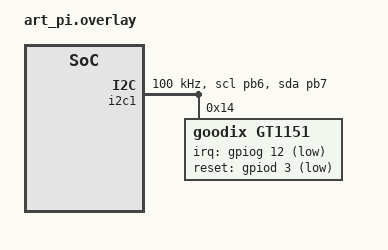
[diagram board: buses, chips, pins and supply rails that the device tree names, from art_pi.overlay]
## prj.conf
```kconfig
CONFIG_I2C=y
CONFIG_GPIO=y

# 使用新的 Input 子系统
CONFIG_INPUT=y
# CONFIG_INPUT_GT911=y
# CONFIG_INPUT_GT911_INTERRUPT=y    # 用中断方式（INT 引脚）

CONFIG_INPUT_GT1151=y
CONFIG_INPUT_GT1151_INTERRUPT=y    # 用中断方式（INT 引脚）
CONFIG_INPUT_GT1151_MAX_TOUCH_POINTS=5  


# 输入事件队列容量（默认很小~16），先给大一点
CONFIG_INPUT_QUEUE_MAX_MSGS=512

# 系统工作队列栈更大，避免打印/处理时栈紧张
CONFIG_SYSTEM_WORKQUEUE_STACK_SIZE=4096

# 调试可选
# 打开日志
CONFIG_LOG=y
CONFIG_LOG_MODE_IMMEDIATE=y
# 全局默认级别可设成 INF（可选）
CONFIG_LOG_DEFAULT_LEVEL=3
# 把 input 系列的日志级别设成 INF（不要再用 DBG）
CONFIG_INPUT_LOG_LEVEL_INF=y
```

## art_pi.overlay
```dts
/*
 * Copyright (c) 2025 STMicroelectronics
 *
 * SPDX-License-Identifier: Apache-2.0
 */

/*
 * Define the device, controller and partition to be the external memory
 * for running the application in external NOR from MCUboot
 */
/ {
	chosen {
		zephyr,flash = &w25q64_qspi;
		zephyr,flash-controller = &w25q64_qspi;
		zephyr,code-partition = &slot0_partition;
	};



     aliases { touch = &gt1151; };   // 可选，给网络接口起别名
};


&i2c1 {
    status = "okay";
    clock-frequency = <100000>;            
    pinctrl-names = "default";
    pinctrl-0 = <&i2c1_scl_pb6 &i2c1_sda_pb7>;


    // gt911: touchscreen@5d {
    //     compatible = "goodix,gt911";
    //     reg = <0x5d>;                 
    //     alt-addr = <0x14>;            
    //     irq-gpios   = <&gpiog 12 GPIO_ACTIVE_HIGH>; 
    //     reset-gpios = <&gpiod 3  GPIO_ACTIVE_LOW>; 
    //     status = "okay";
    // };

	gt1151: touchscreen@14 {
        compatible = "goodix,gt1151";
        reg = <0x14>;
        irq-gpios   = <&gpiog 12 (GPIO_ACTIVE_LOW | GPIO_PULL_UP)>;
        reset-gpios = <&gpiod 3  GPIO_ACTIVE_LOW>;
        status = "okay";
    };

};
```

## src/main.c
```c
#include <zephyr/kernel.h>
#include <zephyr/device.h>
#include <zephyr/devicetree.h>
#include <zephyr/drivers/gpio.h>
#include <zephyr/input/input.h>
#include <zephyr/sys/printk.h>
#include <stdint.h>
#include <stdbool.h>

/* ----------- LED (容错) ----------- */
#define LED0_NODE DT_ALIAS(led0)
#define LED1_NODE DT_ALIAS(led1)
static const struct gpio_dt_spec led0 = GPIO_DT_SPEC_GET_OR(LED0_NODE, gpios, (struct gpio_dt_spec){0});
static const struct gpio_dt_spec led1 = GPIO_DT_SPEC_GET_OR(LED1_NODE, gpios, (struct gpio_dt_spec){0});

static void leds_toggle(void) {
    if (led0.port) gpio_pin_toggle_dt(&led0);
    if (led1.port) gpio_pin_toggle_dt(&led1);
}
static void leds_init(void) {
    if (led0.port && device_is_ready(led0.port)) gpio_pin_configure_dt(&led0, GPIO_OUTPUT_INACTIVE);
    if (led1.port && device_is_ready(led1.port)) gpio_pin_configure_dt(&led1, GPIO_OUTPUT_INACTIVE);
}

/* ----------- 分辨率：chosen display 优先 ----------- */
#if DT_NODE_HAS_STATUS(DT_CHOSEN(zephyr_display), okay) && \
    DT_NODE_HAS_PROP(DT_CHOSEN(zephyr_display), width) && \
    DT_NODE_HAS_PROP(DT_CHOSEN(zephyr_display), height)
#define TOUCH_W DT_PROP(DT_CHOSEN(zephyr_display), width)
#define TOUCH_H DT_PROP(DT_CHOSEN(zephyr_display), height)
#else
#define TOUCH_W 800
#define TOUCH_H 480
#endif

/* ----------- 最大触点 ----------- */
#ifdef CONFIG_INPUT_GT1151_MAX_TOUCH_POINTS
#define MAX_SLOTS CONFIG_INPUT_GT1151_MAX_TOUCH_POINTS
#else
#define MAX_SLOTS 5
#endif

/* ----------- 仅监听 GT1151；无实例时退化为全局监听 ----------- */
#if DT_HAS_COMPAT_STATUS_OKAY(goodix_gt1151)
#define HAVE_GT1151 1
#define GT_DEV DEVICE_DT_GET(DT_INST(0, goodix_gt1151))
#else
#define HAVE_GT1151 0
#endif

/* ----------- 触点状态缓存（回调里只更新，不打印） ----------- */
struct slot_state {
    int16_t x, y;
    bool down;
    bool dirty;   /* 本周期有更新 */
};
static struct slot_state slots[MAX_SLOTS];
static int current_slot = 0;

/* 简单限幅 */
static inline int16_t clamp16(int v, int lo, int hi) {
    if (v < lo) return lo;
    if (v > hi) return hi;
    return (int16_t)v;
}

/* 回调：只更新状态，标记脏位，不打印 */
static void touch_cb(struct input_event *evt, void *user_data)
{
    ARG_UNUSED(user_data);

    switch (evt->type) {
    case INPUT_EV_ABS:
        if (evt->code == INPUT_ABS_MT_SLOT) {
            int s = (int)evt->value;
            if (s < 0) s = 0;
            if (s >= MAX_SLOTS) s = MAX_SLOTS - 1;
            current_slot = s;
        } else if (evt->code == INPUT_ABS_X) {
            slots[current_slot].x = clamp16(evt->value, 0, TOUCH_W - 1);
            slots[current_slot].dirty = true;
        } else if (evt->code == INPUT_ABS_Y) {
            slots[current_slot].y = clamp16(evt->value, 0, TOUCH_H - 1);
            slots[current_slot].dirty = true;
        }
        break;

    case INPUT_EV_KEY:
        if (evt->code == INPUT_BTN_TOUCH) {
            bool d = (evt->value != 0);
            if (slots[current_slot].down != d) {
                slots[current_slot].down = d;
                slots[current_slot].dirty = true;
            }
        }
        break;

    default:
        break;
    }
}

/* 有 GT1151 就只绑定该设备，否则绑定所有设备 */
#if HAVE_GT1151
INPUT_CALLBACK_DEFINE(GT_DEV, touch_cb, NULL);
#else
INPUT_CALLBACK_DEFINE(NULL,   touch_cb, NULL);
#endif

/* 定时器：固定节流频率打印（比如 50ms 一次） */
#define PRINT_PERIOD_MS 50
static struct k_timer print_timer;

static void print_timer_cb(struct k_timer *tmr)
{
    /* 一次性打印所有“脏”触点，然后清脏位 */
    for (int i = 0; i < MAX_SLOTS; i++) {
        if (!slots[i].dirty) continue;
        if (slots[i].down) {
            printk("[slot %d] DOWN/MOVE x=%d y=%d\n", i, slots[i].x, slots[i].y);
        } else {
            printk("[slot %d] UP\n", i);
        }
        slots[i].dirty = false;
    }
    leds_toggle();
}

void main(void)
{
    leds_init();

#if HAVE_GT1151
    const struct device *dev = GT_DEV;
    if (!device_is_ready(dev)) {
        printk("Touch dev not ready: %s\n", dev->name);
    } else {
        printk("Listening GT115x dev: %s, resolution %dx%d\n",
               dev->name ? dev->name : "?", TOUCH_W, TOUCH_H);
    }
#else
    printk("Listening ALL input devices, resolution %dx%d\n", TOUCH_W, TOUCH_H);
#endif

    k_timer_init(&print_timer, print_timer_cb, NULL);
    k_timer_start(&print_timer, K_MSEC(PRINT_PERIOD_MS), K_MSEC(PRINT_PERIOD_MS));

    /* 主线程空转 */
    while (1) {
        k_sleep(K_SECONDS(1));
    }
}


/*  非驱动层的测试  */

// #include <zephyr/kernel.h>
// #include <zephyr/sys/printk.h>
// #include <zephyr/drivers/i2c.h>
// #include <zephyr/drivers/gpio.h>
// #include <zephyr/sys/byteorder.h>
// #include <zephyr/sys/util.h>

// /* ------- Devicetree 节点抓取（兼容 nodelabel/alias） ------- */
// #if DT_NODE_HAS_STATUS(DT_NODELABEL(touch), okay)
// #define TOUCH_NODE DT_NODELABEL(touch)
// #elif DT_NODE_HAS_STATUS(DT_ALIAS(touch), okay)
// #define TOUCH_NODE DT_ALIAS(touch)
// #else
// #error "No touch node found: please add `touch:` label or alias in DTS"
// #endif

// /* I2C 与 GPIO 描述（来自 touch 节点） */
// static const struct i2c_dt_spec  i2c_ts  = I2C_DT_SPEC_GET(TOUCH_NODE);
// static const struct gpio_dt_spec pin_int = GPIO_DT_SPEC_GET(TOUCH_NODE, irq_gpios);
// static const struct gpio_dt_spec pin_rst = GPIO_DT_SPEC_GET(TOUCH_NODE, reset_gpios);

// /* ---- 常用寄存器/参数（GT115x） ---- */
// #define GT_ADDR7             0x14
// #define GT_REG_PID           0x8140  /* 4 bytes */
// #define GT_REG_REQ           0x8044  /* Request */
// #define GT_REG_STATUS        0x814E  /* bit7: ready, bit3..0: points */
// #define GT_REG_POINTS_START  0x8150  /* 每点 8 字节: xL,xH,yL,yH,sizeL,sizeH,id,event */
// #define GT_POINT_SIZE        8
// #define GT_MAX_POINTS        5

// /* ---- I2C 读写（两段消息，失败回退 write_read） ---- */
// static int gt_read(uint8_t addr7, uint16_t reg, void *buf, size_t len)
// {
//     uint8_t ra[2]; sys_put_be16(reg, ra);
//     struct i2c_msg msgs[2] = {
//         { .buf = ra,  .len = 2,   .flags = I2C_MSG_WRITE },
//         { .buf = buf, .len = len, .flags = I2C_MSG_READ | I2C_MSG_RESTART | I2C_MSG_STOP },
//     };
//     int ret = i2c_transfer(i2c_ts.bus, msgs, 2, addr7);
//     if (ret) {
//         /* fallback：部分控制器/设备对 RESTART 更挑剔 */
//         ret = i2c_write_read(i2c_ts.bus, addr7, ra, 2, buf, len);
//     }
//     return ret;
// }

// static int gt_write_u8(uint8_t addr7, uint16_t reg, uint8_t val)
// {
//     uint8_t frame[3];
//     sys_put_be16(reg, frame);
//     frame[2] = val;
//     return i2c_write(i2c_ts.bus, frame, sizeof(frame), addr7);
// }

// /* ---- 复位/上电序列（按 ACTIVE 语义；你的 RST=GPIO_ACTIVE_LOW） ----
//  * 断言复位(=ACTIVE → 对低有效就是拉低) ≥10ms → 释放(=INACTIVE) → 等 ≥60ms
//  * INT：上电阶段先拉为输出低（多数板卡 OK），随后切回输入上拉。
//  */
// static int gt_power_on_sequence(void)
// {
//     int ret;

//     if (!device_is_ready(i2c_ts.bus) ||
//         !gpio_is_ready_dt(&pin_int) ||
//         !gpio_is_ready_dt(&pin_rst)) {
//         return -ENODEV;
//     }

//     /* INT 先设为输出低用于上电阶段（如需绑位），RST 受控 */
//     ret = gpio_pin_configure_dt(&pin_int, GPIO_OUTPUT);
//     if (ret) return ret;
//     ret = gpio_pin_configure_dt(&pin_rst, GPIO_OUTPUT_INACTIVE); /* 先置为“无效”电平 */
//     if (ret) return ret;

//     gpio_pin_set_dt(&pin_int, 0);   /* INT=低（若外部有上拉，后面会切回输入） */

//     /* 断言复位（ACTIVE=1 → 对低有效脚就是拉低） */
//     gpio_pin_set_dt(&pin_rst, 1);
//     k_msleep(12);                   /* ≥10ms */

//     /* 释放复位（INACTIVE=0 → 对低有效脚就是拉高） */
//     gpio_pin_set_dt(&pin_rst, 0);

//     /* INT 切回输入（外部/DT 上拉） */
//     ret = gpio_pin_configure_dt(&pin_int, GPIO_INPUT);
//     if (ret) return ret;

//     /* 给固件启动时间（≥60ms） */
//     k_msleep(60);
//     return 0;
// }

// /* 可重复调用的复位（与上电一致） */
// static int gt_reset_sequence(void)
// {
//     return gt_power_on_sequence();
// }

// /* ---- Request 处理：无配置时先清零继续 ---- */
// static void gt_handle_request(void)
// {
//     uint8_t req = 0xFF;
//     if (gt_read(GT_ADDR7, GT_REG_REQ, &req, 1) == 0) {
//         if (req == 0x01) {
//             printk("GT Request=0x01: device asks for config; clear and continue.\n");
//             gt_write_u8(GT_ADDR7, GT_REG_REQ, 0x00);
//         } else if (req == 0x03) {
//             printk("GT Request=0x03: device asks for reset, doing reset.\n");
//             gt_write_u8(GT_ADDR7, GT_REG_REQ, 0x00);
//             gt_reset_sequence();
//         }
//     }
// }

// /* ---- 读取 PID ---- */
// static int gt_read_pid(char out[5])
// {
//     uint8_t id[4] = {0};
//     int ret = gt_read(GT_ADDR7, GT_REG_PID, id, 4);
//     if (ret) return ret;
//     out[0] = id[0]; out[1] = id[1]; out[2] = id[2]; out[3] = id[3]; out[4] = '\0';
//     return 0;
// }

// /* ---- 简单轮询：先读 0x814E → 读 n*8 点 → 清 0x814E ---- */
// static void gt_poll_points(void)
// {
//     while (1) {
//         uint8_t stat = 0;
//         if (gt_read(GT_ADDR7, GT_REG_STATUS, &stat, 1) == 0) {
//             if (stat & 0x80) { /* bit7 ready */
//                 uint8_t n = stat & 0x0F;
//                 if (n > GT_MAX_POINTS) n = GT_MAX_POINTS;

//                 if (n) {
//                     uint8_t buf[GT_MAX_POINTS * GT_POINT_SIZE] = {0};
//                     size_t need = n * GT_POINT_SIZE;

//                     if (gt_read(GT_ADDR7, GT_REG_POINTS_START, buf, need) == 0) {
//                         for (uint8_t i = 0; i < n; i++) {
//                             const uint8_t *p = &buf[i * GT_POINT_SIZE];
//                             uint16_t x = ((uint16_t)p[1] << 8) | p[0];
//                             uint16_t y = ((uint16_t)p[3] << 8) | p[2];
//                             uint16_t s = ((uint16_t)p[5] << 8) | p[4]; /* size/pressure */
//                             uint8_t  id = p[6];                        /* track id */
//                             uint8_t  ev = p[7];                        /* event */
//                             printk("pt[%u]: id=%u ev=%u  x=%u y=%u s=%u\n",
//                                    i, id, ev, x, y, s);
//                         }
//                     }
//                 }
//                 /* 清空 ready 标志（读取完成必须清零） */
//                 gt_write_u8(GT_ADDR7, GT_REG_STATUS, 0x00);
//             }
//         }
//         k_msleep(10);
//     }
// }

// #ifdef CONFIG_APP_I2C_SCAN
// static void i2c_bus_scan(const struct device *dev)
// {
//     printk("I2C scan on %s:\n", dev->name);
//     for (uint8_t a = 0x03; a < 0x78; a++) {
//         int ret = i2c_write(dev, NULL, 0, a);
//         if (ret == 0) {
//             printk("  - found addr 0x%02X\n", a);
//         }
//     }
// }
// #endif

// void main(void)
// {
//     printk("*** GT1151/GT1158 bring-up test (addr 0x14) ***\n");

//     if (!device_is_ready(i2c_ts.bus) ||
//         !gpio_is_ready_dt(&pin_int) ||
//         !gpio_is_ready_dt(&pin_rst)) {
//         printk("Devices not ready\n");
//         return;
//     }

// #ifdef CONFIG_APP_I2C_SCAN
//     printk("I2C bus = %s  addr from DTS=0x%02X\n", i2c_ts.bus->name, i2c_ts.addr);
//     i2c_bus_scan(i2c_ts.bus);
// #endif

//     if (gt_power_on_sequence()) {
//         printk("power-on sequence failed\n");
//         return;
//     }

//     char pid[5] = {0};
//     if (gt_read_pid(pid) == 0) {
//         printk("PID=\"%s\"\n", pid);   /* 你这里大概率会看到 “1158” */
//     } else {
//         printk("Read PID failed\n");
//         return;
//     }

//     gt_handle_request();
//     printk("Ready. Polling points...\n");
//     gt_poll_points();
// }
```
